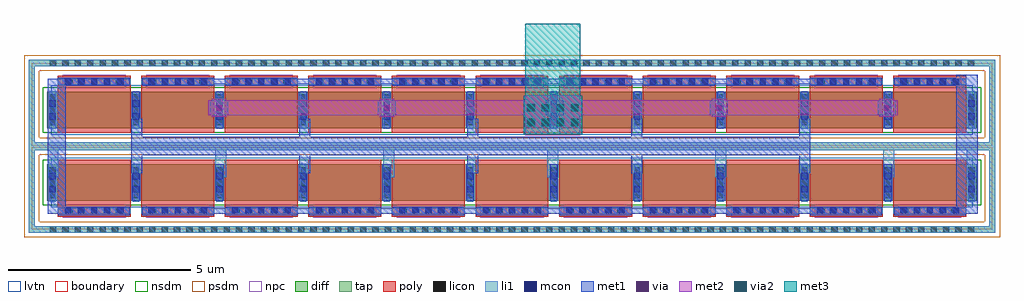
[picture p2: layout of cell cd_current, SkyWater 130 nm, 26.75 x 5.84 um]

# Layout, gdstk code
import gdstk
lib = gdstk.Library(unit=1e-6, precision=1e-09)
def R(c, l, rs):  # rectangles x0, y0, x1, y1
    for r in rs: c.add(gdstk.rectangle(r[:2], r[2:], *l))
def A(c, l, x, y, w, h, nx, ny, dx, dy):  # array of equal rectangles
    R(c, l, [(x+i*dx, y+j*dy, x+i*dx+w, y+j*dy+h) for i in range(nx) for j in range(ny)])
diff = (65, 20)
tap = (65, 44)
poly = (66, 20)
licon = (66, 44)
li1 = (67, 20)
mcon = (67, 44)
met1 = (68, 20)
via = (68, 44)
met2 = (69, 20)
via2 = (69, 44)
met3 = (70, 20)
nsdm = (93, 44)
psdm = (94, 20)
npc = (95, 20)
lvtn = (125, 44)
boundary = (235, 4)

sky130_fd_pr__nfet_01v8_ = lib.new_cell('sky130_fd_pr__nfet_01v8_lvt_M93XMJ')
R(sky130_fd_pr__nfet_01v8_, diff, [(-12.74,-0.655,12.74,0.345)])
R(sky130_fd_pr__nfet_01v8_, tap, [(-13.25,-1.215,13.25,-1.045), (-13.25,-1.045,-13.08,1.045), (13.08,-1.045,13.25,1.045), (-13.25,1.045,13.25,1.215)])
A(sky130_fd_pr__nfet_01v8_, poly, -12.45, -0.785, 2, 1.57, 11, 1, 2.29, 0)
A(sky130_fd_pr__nfet_01v8_, licon, -12.68, -0.58, 0.17, 0.17, 12, 3, 2.29, 0.34)
A(sky130_fd_pr__nfet_01v8_, licon, -12.215, 0.535, 0.17, 0.17, 5, 1, 0.34, 0)
A(sky130_fd_pr__nfet_01v8_, licon, -9.925, 0.535, 0.17, 0.17, 5, 1, 0.34, 0)
A(sky130_fd_pr__nfet_01v8_, licon, -7.635, 0.535, 0.17, 0.17, 5, 1, 0.34, 0)
A(sky130_fd_pr__nfet_01v8_, licon, -5.345, 0.535, 0.17, 0.17, 5, 1, 0.34, 0)
A(sky130_fd_pr__nfet_01v8_, licon, -3.055, 0.535, 0.17, 0.17, 5, 1, 0.34, 0)
A(sky130_fd_pr__nfet_01v8_, licon, -0.765, 0.535, 0.17, 0.17, 5, 1, 0.34, 0)
A(sky130_fd_pr__nfet_01v8_, licon, 1.525, 0.535, 0.17, 0.17, 5, 1, 0.34, 0)
A(sky130_fd_pr__nfet_01v8_, licon, 3.815, 0.535, 0.17, 0.17, 5, 1, 0.34, 0)
A(sky130_fd_pr__nfet_01v8_, licon, 6.105, 0.535, 0.17, 0.17, 5, 1, 0.34, 0)
A(sky130_fd_pr__nfet_01v8_, licon, 8.395, 0.535, 0.17, 0.17, 5, 1, 0.34, 0)
A(sky130_fd_pr__nfet_01v8_, licon, 10.685, 0.535, 0.17, 0.17, 5, 1, 0.34, 0)
A(sky130_fd_pr__nfet_01v8_, licon, -12.665, 1.045, 0.17, 0.17, 75, 1, 0.34, 0)
A(sky130_fd_pr__nfet_01v8_, li1, -12.68, -0.675, 0.17, 1.04, 12, 1, 2.29, 0)
A(sky130_fd_pr__nfet_01v8_, li1, -12.45, 0.535, 2, 0.17, 11, 1, 2.29, 0)
R(sky130_fd_pr__nfet_01v8_, li1, [(-13.25,-1.215,13.25,-1.045), (-13.25,-1.045,-13.08,1.045), (13.08,-1.045,13.25,1.045), (-13.25,1.045,13.25,1.215)])
A(sky130_fd_pr__nfet_01v8_, mcon, -12.68, -0.42, 0.17, 0.17, 12, 2, 2.29, 0.36)
A(sky130_fd_pr__nfet_01v8_, mcon, -12.255, 0.535, 0.17, 0.17, 5, 1, 0.36, 0)
A(sky130_fd_pr__nfet_01v8_, mcon, -9.965, 0.535, 0.17, 0.17, 5, 1, 0.36, 0)
A(sky130_fd_pr__nfet_01v8_, mcon, -7.675, 0.535, 0.17, 0.17, 5, 1, 0.36, 0)
A(sky130_fd_pr__nfet_01v8_, mcon, -5.385, 0.535, 0.17, 0.17, 5, 1, 0.36, 0)
A(sky130_fd_pr__nfet_01v8_, mcon, -3.095, 0.535, 0.17, 0.17, 5, 1, 0.36, 0)
A(sky130_fd_pr__nfet_01v8_, mcon, -0.805, 0.535, 0.17, 0.17, 5, 1, 0.36, 0)
A(sky130_fd_pr__nfet_01v8_, mcon, 1.485, 0.535, 0.17, 0.17, 5, 1, 0.36, 0)
A(sky130_fd_pr__nfet_01v8_, mcon, 3.775, 0.535, 0.17, 0.17, 5, 1, 0.36, 0)
A(sky130_fd_pr__nfet_01v8_, mcon, 6.065, 0.535, 0.17, 0.17, 5, 1, 0.36, 0)
A(sky130_fd_pr__nfet_01v8_, mcon, 8.355, 0.535, 0.17, 0.17, 5, 1, 0.36, 0)
A(sky130_fd_pr__nfet_01v8_, mcon, 10.645, 0.535, 0.17, 0.17, 5, 1, 0.36, 0)
A(sky130_fd_pr__nfet_01v8_, met1, -12.71, -0.655, 0.23, 1, 12, 1, 2.29, 0)
A(sky130_fd_pr__nfet_01v8_, met1, -12.43, 0.505, 1.96, 0.23, 11, 1, 2.29, 0)
R(sky130_fd_pr__nfet_01v8_, nsdm, [(-12.865,-0.78,12.865,0.47)])
R(sky130_fd_pr__nfet_01v8_, psdm, [(-13.375,-1.34,13.375,-0.92), (-13.375,-0.92,-12.955,0.92), (12.955,-0.92,13.375,0.92), (-13.375,0.92,13.375,1.34)])
A(sky130_fd_pr__nfet_01v8_, npc, -12.315, 0.435, 1.73, 0.37, 11, 1, 2.29, 0)
R(sky130_fd_pr__nfet_01v8_, lvtn, [(-12.63,-0.835,12.63,0.525)])
R(sky130_fd_pr__nfet_01v8_, boundary, [(-13.165,-1.13,13.165,1.13)])

c_sky130_fd_pr__nfet_01v8_ = lib.new_cell('sky130_fd_pr__nfet_01v8_lvt_J9QE6F')
R(c_sky130_fd_pr__nfet_01v8_, diff, [(-12.74,-0.345,12.74,0.655)])
R(c_sky130_fd_pr__nfet_01v8_, tap, [(-13.25,-1.215,13.25,-1.045), (-13.25,-1.045,-13.08,1.045), (13.08,-1.045,13.25,1.045), (-13.25,1.045,13.25,1.215)])
A(c_sky130_fd_pr__nfet_01v8_, poly, -12.45, -0.785, 2, 1.57, 11, 1, 2.29, 0)
A(c_sky130_fd_pr__nfet_01v8_, licon, -12.665, -1.215, 0.17, 0.17, 75, 1, 0.34, 0)
A(c_sky130_fd_pr__nfet_01v8_, licon, -12.215, -0.705, 0.17, 0.17, 5, 1, 0.34, 0)
A(c_sky130_fd_pr__nfet_01v8_, licon, -9.925, -0.705, 0.17, 0.17, 5, 1, 0.34, 0)
A(c_sky130_fd_pr__nfet_01v8_, licon, -7.635, -0.705, 0.17, 0.17, 5, 1, 0.34, 0)
A(c_sky130_fd_pr__nfet_01v8_, licon, -5.345, -0.705, 0.17, 0.17, 5, 1, 0.34, 0)
A(c_sky130_fd_pr__nfet_01v8_, licon, -3.055, -0.705, 0.17, 0.17, 5, 1, 0.34, 0)
A(c_sky130_fd_pr__nfet_01v8_, licon, -0.765, -0.705, 0.17, 0.17, 5, 1, 0.34, 0)
A(c_sky130_fd_pr__nfet_01v8_, licon, 1.525, -0.705, 0.17, 0.17, 5, 1, 0.34, 0)
A(c_sky130_fd_pr__nfet_01v8_, licon, 3.815, -0.705, 0.17, 0.17, 5, 1, 0.34, 0)
A(c_sky130_fd_pr__nfet_01v8_, licon, 6.105, -0.705, 0.17, 0.17, 5, 1, 0.34, 0)
A(c_sky130_fd_pr__nfet_01v8_, licon, 8.395, -0.705, 0.17, 0.17, 5, 1, 0.34, 0)
A(c_sky130_fd_pr__nfet_01v8_, licon, 10.685, -0.705, 0.17, 0.17, 5, 1, 0.34, 0)
A(c_sky130_fd_pr__nfet_01v8_, licon, -12.68, -0.27, 0.17, 0.17, 12, 3, 2.29, 0.34)
A(c_sky130_fd_pr__nfet_01v8_, li1, -12.45, -0.705, 2, 0.17, 11, 1, 2.29, 0)
A(c_sky130_fd_pr__nfet_01v8_, li1, -12.68, -0.365, 0.17, 1.04, 12, 1, 2.29, 0)
R(c_sky130_fd_pr__nfet_01v8_, li1, [(-13.25,-1.215,13.25,-1.045), (-13.25,-1.045,-13.08,1.045), (13.08,-1.045,13.25,1.045), (-13.25,1.045,13.25,1.215)])
A(c_sky130_fd_pr__nfet_01v8_, mcon, -12.255, -0.705, 0.17, 0.17, 5, 1, 0.36, 0)
A(c_sky130_fd_pr__nfet_01v8_, mcon, -9.965, -0.705, 0.17, 0.17, 5, 1, 0.36, 0)
A(c_sky130_fd_pr__nfet_01v8_, mcon, -7.675, -0.705, 0.17, 0.17, 5, 1, 0.36, 0)
A(c_sky130_fd_pr__nfet_01v8_, mcon, -5.385, -0.705, 0.17, 0.17, 5, 1, 0.36, 0)
A(c_sky130_fd_pr__nfet_01v8_, mcon, -3.095, -0.705, 0.17, 0.17, 5, 1, 0.36, 0)
A(c_sky130_fd_pr__nfet_01v8_, mcon, -0.805, -0.705, 0.17, 0.17, 5, 1, 0.36, 0)
A(c_sky130_fd_pr__nfet_01v8_, mcon, 1.485, -0.705, 0.17, 0.17, 5, 1, 0.36, 0)
A(c_sky130_fd_pr__nfet_01v8_, mcon, 3.775, -0.705, 0.17, 0.17, 5, 1, 0.36, 0)
A(c_sky130_fd_pr__nfet_01v8_, mcon, 6.065, -0.705, 0.17, 0.17, 5, 1, 0.36, 0)
A(c_sky130_fd_pr__nfet_01v8_, mcon, 8.355, -0.705, 0.17, 0.17, 5, 1, 0.36, 0)
A(c_sky130_fd_pr__nfet_01v8_, mcon, 10.645, -0.705, 0.17, 0.17, 5, 1, 0.36, 0)
A(c_sky130_fd_pr__nfet_01v8_, mcon, -12.68, -0.11, 0.17, 0.17, 12, 2, 2.29, 0.36)
A(c_sky130_fd_pr__nfet_01v8_, met1, -12.43, -0.735, 1.96, 0.23, 11, 1, 2.29, 0)
A(c_sky130_fd_pr__nfet_01v8_, met1, -12.71, -0.345, 0.23, 1, 12, 1, 2.29, 0)
R(c_sky130_fd_pr__nfet_01v8_, nsdm, [(-12.865,-0.47,12.865,0.78)])
R(c_sky130_fd_pr__nfet_01v8_, psdm, [(-13.375,-1.34,13.375,-0.92), (-13.375,-0.92,-12.955,0.92), (12.955,-0.92,13.375,0.92), (-13.375,0.92,13.375,1.34)])
A(c_sky130_fd_pr__nfet_01v8_, npc, -12.315, -0.805, 1.73, 0.37, 11, 1, 2.29, 0)
R(c_sky130_fd_pr__nfet_01v8_, lvtn, [(-12.63,-0.525,12.63,0.835)])
R(c_sky130_fd_pr__nfet_01v8_, boundary, [(-13.165,-1.13,13.165,1.13)])

cd_current = lib.new_cell('cd_current')
A(cd_current, li1, 0.9, 1.8, 0.3, 0.9, 3, 1, 4.6, 0)
A(cd_current, li1, 14.6, 1.8, 0.3, 0.9, 3, 1, 4.6, 0)
R(cd_current, li1, [(26.1,1.8,26.4,2.7)])
A(cd_current, met1, 3.2, 1.9, 0.3, 0.5, 3, 2, 4.6, 1)
A(cd_current, met1, 5.35, 3.5, 0.5, 0.4, 3, 1, 4.6, 0)
R(cd_current, met1, [(0.9,0.8,1.4,4.5), (5.4,0.8,21.9,0.95), (25.8,0.8,26.4,4.6), (16.9,1.9,17.2,2.4), (21.5,1.9,21.8,2.4), (3.2,2.4,21.8,2.9), (16.9,2.9,17.2,3.4), (21.5,2.9,21.8,3.4), (19.05,3.5,19.55,3.9), (23.65,3.5,24.15,3.9), (5.4,4.35,21.9,4.5)])
A(cd_current, via, 5.525, 3.625, 0.15, 0.15, 3, 1, 4.6, 0)
R(cd_current, via, [(19.225,3.625,19.375,3.775), (23.825,3.625,23.975,3.775)])
R(cd_current, met2, [(14,2.95,15.5,3.5), (5.4,3.45,5.8,3.5), (10,3.45,10.4,3.5), (19.1,3.45,19.5,3.5), (23.7,3.45,24.1,3.5), (5.3,3.5,24.2,3.9), (5.4,3.9,5.8,3.95), (10,3.9,10.4,3.95), (14,3.9,15.5,4.05), (19.1,3.9,19.5,3.95), (23.7,3.9,24.1,3.95)])
A(cd_current, via2, 14.05, 3.2, 0.2, 0.2, 4, 2, 0.4, 0.4)
R(cd_current, met3, [(13.95,2.975,15.55,4.025), (14,4.025,15.5,6)])
cd_current.add(gdstk.Reference(sky130_fd_pr__nfet_01v8_, (13.63,3.795)))
cd_current.add(gdstk.Reference(c_sky130_fd_pr__nfet_01v8_, (13.63,1.495)))

lib.write_gds('cd_current.gds')
